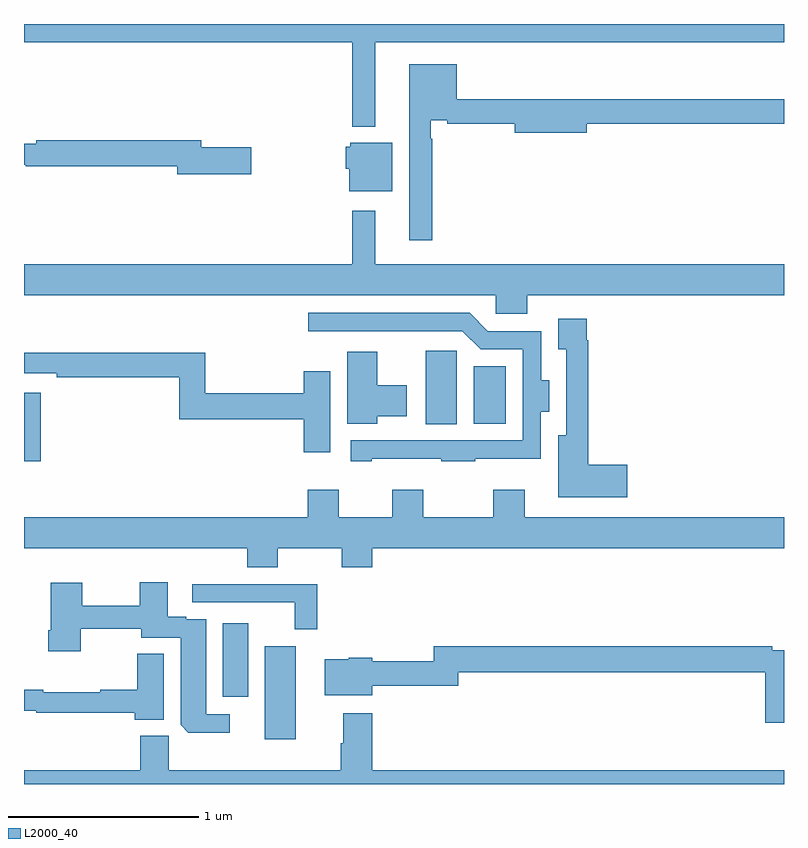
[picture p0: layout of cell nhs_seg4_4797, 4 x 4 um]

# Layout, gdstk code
import gdstk
lib = gdstk.Library(unit=1e-6, precision=1e-09)
def R(c, l, rs):  # rectangles x0, y0, x1, y1
    for r in rs: c.add(gdstk.rectangle(r[:2], r[2:], *l))
def P(c, l, *ps):  # polygons
    for p in ps: c.add(gdstk.Polygon(p, *l))
L2000_40 = (2000, 40)

nhs_seg4_4797 = lib.new_cell('nhs_seg4_4797')
R(nhs_seg4_4797, L2000_40, [(370.268,809.136,370.429,809.626), (370.046,809.358,370.18,809.746), (369,810.598,369.089,810.958), (371.114,810.793,371.278,811.18), (371.366,810.797,371.536,811.099)])
P(nhs_seg4_4797, L2000_40, [(370.849,812.804),(373,812.804),(373,812.9),(369,812.9),(369,812.804),(370.728,812.804),(370.728,812.36),(370.849,812.36)],
  [(371.149,812.297),(371.141,812.297),(371.141,812.394),(371.227,812.394),(371.227,812.374),(371.582,812.374),(371.582,812.327),(371.962,812.327),(371.962,812.374),(373,812.374),(373,812.503),(371.278,812.503),(371.278,812.689),(371.027,812.689),(371.027,811.761),(371.149,811.761)],
  [(370.195,812.252),(369.934,812.252),(369.934,812.288),(369.064,812.288),(369.064,812.269),(369,812.269),(369,812.16),(369.01,812.16),(369.01,812.152),(369.806,812.152),(369.806,812.11),(370.195,812.11)],
  [(370.939,812.275),(370.716,812.275),(370.716,812.253),(370.694,812.253),(370.694,812.139),(370.712,812.139),(370.712,812.021),(370.939,812.021)],
  [(371.648,811.472),(373,811.472),(373,811.636),(370.849,811.636),(370.849,811.918),(370.728,811.918),(370.728,811.636),(369,811.636),(369,811.472),(371.484,811.472),(371.484,811.374),(371.648,811.374)],
  [(370.831,810.611),(371.197,810.611),(371.197,810.6),(371.375,810.6),(371.375,810.611),(371.721,810.611),(371.721,810.86),(371.764,810.86),(371.764,811.024),(371.722,811.024),(371.722,811.284),(371.442,811.284),(371.346,811.38),(370.497,811.38),(370.497,811.284),(371.307,811.284),(371.403,811.188),(371.625,811.188),(371.625,810.708),(370.719,810.708),(370.719,810.6),(370.831,810.6)],
  [(372.175,810.581),(371.969,810.581),(371.969,811.235),(371.962,811.235),(371.962,811.348),(371.813,811.348),(371.813,811.187),(371.853,811.187),(371.853,810.736),(371.813,810.736),(371.813,810.41),(372.175,810.41)],
  [(370.858,810.836),(371.014,810.836),(371.014,811),(370.858,811),(370.858,811.174),(370.7,811.174),(370.7,810.797),(370.858,810.797)],
  [(370.612,811.072),(370.472,811.072),(370.472,810.956),(369.953,810.956),(369.953,811.171),(369,811.171),(369,811.062),(369.172,811.062),(369.172,811.042),(369.817,811.042),(369.817,810.82),(370.472,810.82),(370.472,810.645),(370.612,810.645)],
  [(373,810.304),(371.635,810.304),(371.635,810.448),(371.471,810.448),(371.471,810.304),(371.101,810.304),(371.101,810.448),(370.937,810.448),(370.937,810.304),(370.657,810.304),(370.657,810.448),(370.493,810.448),(370.493,810.304),(369,810.304),(369,810.14),(370.175,810.14),(370.175,810.041),(370.335,810.041),(370.335,810.14),(370.672,810.14),(370.672,810.041),(370.832,810.041),(370.832,810.14),(373,810.14)],
  [(370.084,809.268),(369.958,809.268),(369.958,809.766),(369.854,809.766),(369.854,809.779),(369.757,809.779),(369.757,809.962),(369.61,809.962),(369.61,809.839),(369.306,809.839),(369.306,809.959),(369.14,809.959),(369.14,809.71),(369.128,809.71),(369.128,809.598),(369.298,809.598),(369.298,809.718),(369.617,809.718),(369.617,809.67),(369.824,809.67),(369.824,809.212),(369.865,809.171),(370.084,809.171)],
  [(370.544,809.952),(369.885,809.952),(369.885,809.856),(370.426,809.856),(370.426,809.715),(370.544,809.715)],
  [(373,809.604),(372.938,809.604),(372.938,809.624),(371.157,809.624),(371.157,809.546),(370.834,809.546),(370.834,809.565),(370.709,809.565),(370.709,809.557),(370.583,809.557),(370.583,809.366),(370.834,809.366),(370.834,809.418),(371.285,809.418),(371.285,809.488),(372.902,809.488),(372.902,809.223),(373,809.223)],
  [(369.736,809.585),(369.596,809.585),(369.596,809.395),(369.4,809.395),(369.4,809.384),(369.1,809.384),(369.1,809.395),(369,809.395),(369,809.286),(369.064,809.286),(369.064,809.274),(369.584,809.274),(369.584,809.239),(369.736,809.239)],
  [(373,808.972),(370.832,808.972),(370.832,809.272),(370.679,809.272),(370.679,809.114),(370.667,809.114),(370.667,808.972),(369.761,808.972),(369.761,809.154),(369.611,809.154),(369.611,808.972),(369,808.972),(369,808.9),(373,808.9)])

lib.write_gds('nhs_seg4_4797.gds')
